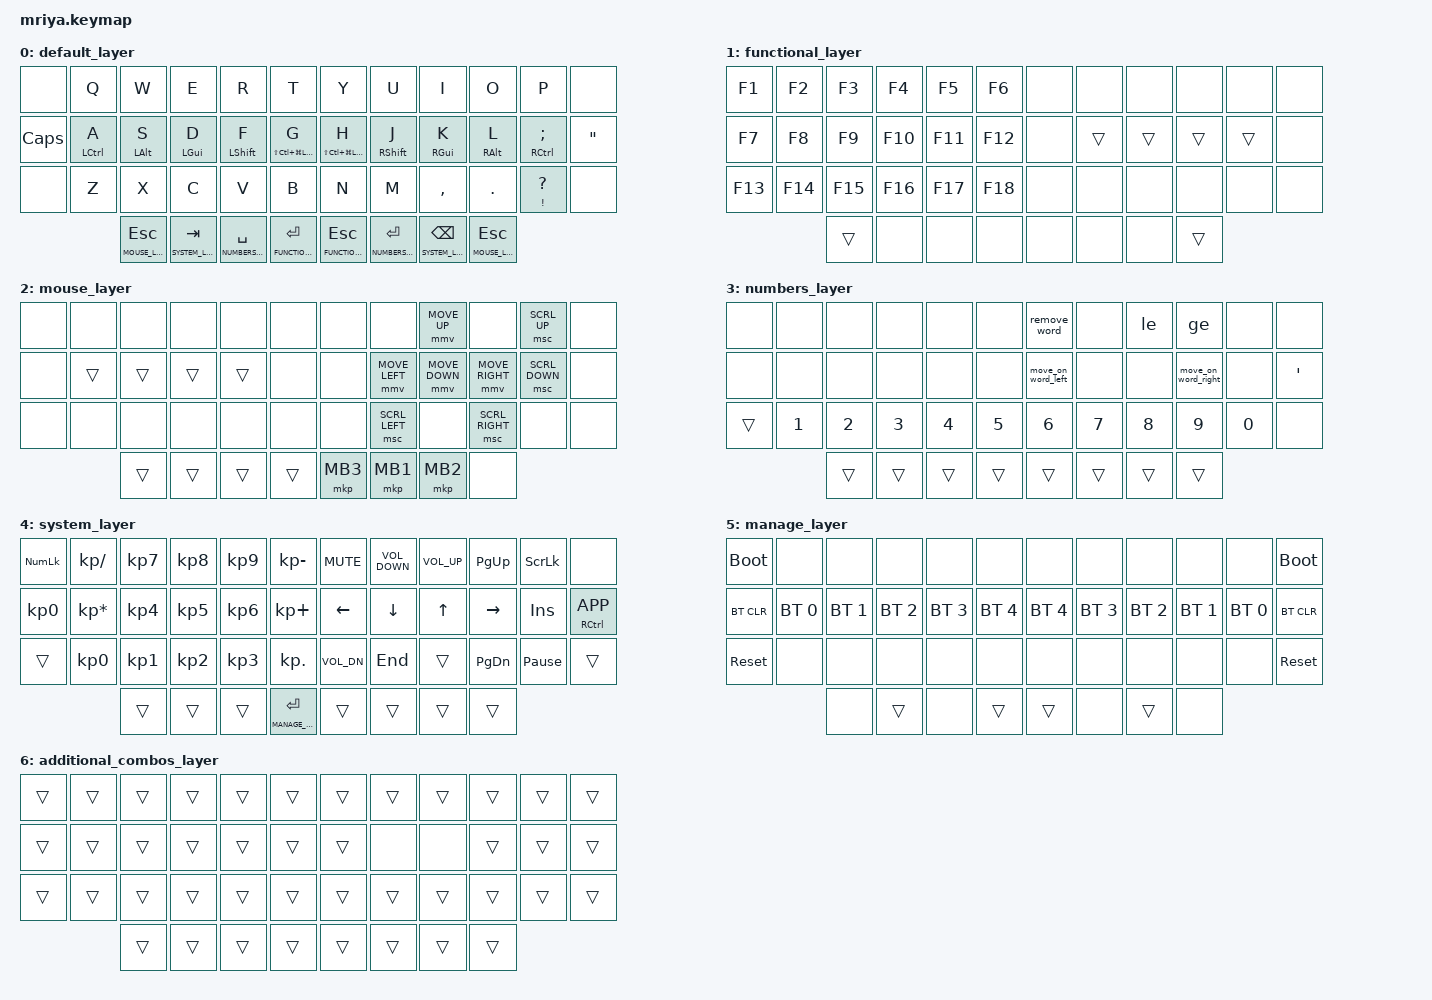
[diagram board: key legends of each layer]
/*
 * Copyright (c) 2023 Andrei Gaevskii
 *
 * SPDX-License-Identifier: MIT
 */

#include <behaviors/mouse_keys.dtsi>
#include <behaviors/mouse_move.dtsi>
#include <dt-bindings/zmk/mouse.h>
#include <behaviors.dtsi>
#include <dt-bindings/zmk/bt.h>
#include <dt-bindings/zmk/keys.h>

#define DEFAULT_LAYER    0
#define FUNCTIONAL_LAYER 1
#define MOUSE_LAYER      2
#define NUMBERS_LAYER    3
#define SYSTEM_LAYER     4
#define MANAGE_LAYER     5

#define ZMK_MOUSE_DEFAULT_SCRL_VAL 40
#define ZMK_MOUSE_DEFAULT_MOVE_VAL 1800

#define COMBO_TERM_LONG 51

// #define HYPER <&kp LEFT_GUI &kp LEFT_ALT &kp LEFT_CONTROL &kp LEFT_SHIFT>
#define HYPER LS(LC(LG(LEFT_ALT)))
#define MEH LEFT_ALT(LC(LS))
//#define MEH <&kp LEFT_ALT &kp LEFT_CONTROL &kp LEFT_SHIFT>


#define COMBO(NAME, BINDINGS, KEYPOS, LAYERS, MS) \
    combo_##NAME { \
        bindings = <BINDINGS>; \
        key-positions = KEYPOS; \
        layers = LAYERS; \
        timeout-ms = <MS>; \
    };

&lt { quick_tap_ms = <200>; };

&mt {
    quick-tap-ms = <125>;
    tapping-term-ms = <300>;
};

&mmv {
    time-to-max-speed-ms = <300>;
    acceleration-exponent = <2>;
};


/ {
    combos {
        compatible = "zmk,combos";

        COMBO(caps_word, &caps_word, <12 23>, <0>, COMBO_TERM_LONG)
        COMBO(plus_symbol, &kp KP_PLUS, <7 19>, <0>, COMBO_TERM_LONG)
        COMBO(minus_symbol, &kp KP_MINUS, <19 31>, <0>, COMBO_TERM_LONG)
        COMBO(equal_with_spaces, &equal_with_spaces, <16 19>, <0>, COMBO_TERM_LONG)
        COMBO(plus_with_spaces, &plus_with_spaces, <17 19>, <0>, COMBO_TERM_LONG)
        COMBO(return, &return, <20 38>, <0>, COMBO_TERM_LONG)
        COMBO(right_arrow_with_spaces, &right_arrow_with_spaces, <19 38>, <0>, COMBO_TERM_LONG)

        COMBO(minus_with_spaces, &minus_with_spaces, <15 19>, <0>, COMBO_TERM_LONG)

        COMBO(lpar, &kp LPAR, <7 8>, <0>, COMBO_TERM_LONG)
        COMBO(rpar, &kp RPAR, <8 9>, <0>, COMBO_TERM_LONG)

        /* COMBO(change_language, &kp CAPSLOCK, <38 41>, <0>, COMBO_TERM_LONG) */
        COMBO(bracket, &kp LEFT_BRACKET, <31 32>, <0>, COMBO_TERM_LONG)
        COMBO(right_bracket, &kp RIGHT_BRACKET, <32 33>, <0>, COMBO_TERM_LONG)
        COMBO(equal_sign, &kp KP_EQUAL, <15 16>, <0>, COMBO_TERM_LONG)
        COMBO(copy, &copy, <26 27>, <0>, COMBO_TERM_LONG)
        COMBO(paste, &paste, <27 28>, <0>, COMBO_TERM_LONG)
        COMBO(cut, &cut, <26 28>, <0>, COMBO_TERM_LONG)
        COMBO(caret, &kp CARET, <6 18>, <0>, COMBO_TERM_LONG)

        COMBO(and_, &kp AMPERSAND, <9 21>, <0>, COMBO_TERM_LONG)
        COMBO(or_, &kp PIPE, <21 33>, <0>, COMBO_TERM_LONG)

        COMBO(mult, &kp KP_MULTIPLY, <8 20>, <0>, COMBO_TERM_LONG)
        COMBO(div, &kp KP_DIVIDE, <20 32>, <0>, COMBO_TERM_LONG)

        COMBO(dollar, &kp DOLLAR, <4 16>, <0>, COMBO_TERM_LONG)
        COMBO(percent, &kp PERCENT, <5 17>, <0>, COMBO_TERM_LONG)
        COMBO(tilde, &kp TILDE, <17 29>, <0>, COMBO_TERM_LONG)
        COMBO(hash, &kp HASH, <3 15>, <0>, COMBO_TERM_LONG)
        COMBO(backslash, &kp BACKSLASH, <15 27>, <0>, COMBO_TERM_LONG)
        COMBO(at, &kp AT_SIGN, <2 14>, <0>, COMBO_TERM_LONG)
        COMBO(gravis, &kp GRAVE, <13 25>, <0>, COMBO_TERM_LONG)
        COMBO(ground, &kp UNDERSCORE, <18 30>, <0>, COMBO_TERM_LONG)
        COMBO(excl, &kp EXCL, <1 13>, <0>, COMBO_TERM_LONG)
    };

    macros {
        right_arrow: right_arrow {
            compatible = "zmk,behavior-macro";
            #binding-cells = <0>;
            bindings = <&kp MINUS &kp GT>;
            label = "RIGHT_ARROW";
        };

        move_on_word_left: move_on_word_left {
            compatible = "zmk,behavior-macro";
            #binding-cells = <0>;
            bindings =
                <&macro_press>,
                <&kp LEFT_ALT>,
                <&macro_tap>,
                <&kp LEFT>,
                <&macro_release>,
                <&kp LEFT_ALT>;
            label = "MOVE_ON_WORD_LEFT";
        };

        move_on_word_right: move_on_word_right {
            compatible = "zmk,behavior-macro";
            #binding-cells = <0>;
            bindings =
                <&macro_press>,
                <&kp LEFT_ALT>,
                <&macro_tap>,
                <&kp RIGHT>,
                <&macro_release>,
                <&kp LEFT_ALT>;
            label = "MOVE_ON_WORD_RIGHT";
        };

        remove_word: remove_word {
            compatible = "zmk,behavior-macro";
            #binding-cells = <0>;
            bindings =
                <&macro_press>,
                <&kp LEFT_ALT>,
                <&macro_tap>,
                <&kp BACKSPACE>,
                <&macro_release>,
                <&kp LEFT_ALT>;
            label = "REMOVE_WORD";
        };

        right_arrow_with_spaces: right_arrow_with_spaces {
            compatible = "zmk,behavior-macro";
            #binding-cells = <0>;
            bindings = <&kp SPACE &kp MINUS &kp GT &kp SPACE>;
            label = "RIGHT_ARROW_WITH_SPACES";
        };

        equal_with_spaces: equal_with_spaces {
            compatible = "zmk,behavior-macro";
            #binding-cells = <0>;
            bindings = <&kp SPACE &kp KP_EQUAL &kp SPACE>;
            label = "EQUAL_WITH_SPACES";
        };

        increment_with_spaces: increment_with_spaces {
            compatible = "zmk,behavior-macro";
            #binding-cells = <0>;
            bindings = <&kp SPACE &kp KP_PLUS &kp KP_EQUAL &kp SPACE>;
            label = "INCREMENT_WITH_SPACES";
        };

        plus_with_spaces: plus_with_spaces {
            compatible = "zmk,behavior-macro";
            #binding-cells = <0>;
            bindings = <&kp SPACE &kp KP_PLUS &kp SPACE>;
            label = "PLUS_WITH_SPACES";
        };

        minus_with_spaces: minus_with_spaces {
            compatible = "zmk,behavior-macro";
            #binding-cells = <0>;
            bindings = <&kp SPACE &kp KP_MINUS &kp SPACE>;
            label = "MINUS_WITH_SPACES";
        };

        copy: copy {
            compatible = "zmk,behavior-macro";
            #binding-cells = <0>;
            bindings =
                <&macro_press>,
                <&kp LCMD>,
                <&macro_tap>,
                <&kp C>,
                <&macro_release>,
                <&kp LCMD>;
            label = "COPY";
        };

        paste: paste {
            compatible = "zmk,behavior-macro";
            #binding-cells = <0>;
            bindings =
                <&macro_press>,
                <&kp LCMD>,
                <&macro_tap>,
                <&kp V>,
                <&macro_release>,
                <&kp LCMD>;
            label = "PASTE";
        };

        cut: cut {
            compatible = "zmk,behavior-macro";
            #binding-cells = <0>;
            bindings =
                <&macro_press>,
                <&kp LCMD>,
                <&macro_tap>,
                <&kp X>,
                <&macro_release>,
                <&kp LCMD>;
            label = "CUT";
        };

        return: return {
            compatible = "zmk,behavior-macro";
            #binding-cells = <0>;
            bindings = <&kp SPACE &kp EQUAL &kp GT &kp SPACE>;
            label = "RETURN";
        };

        not_by_excl: not_by_excl {
            compatible = "zmk,behavior-macro";
            #binding-cells = <0>;
            bindings = <&kp EXCL &kp EQUAL>;
            label = "NOT_BY_EXCL";
        };

        inc: inc {
            compatible = "zmk,behavior-macro";
            #binding-cells = <0>;
            bindings = <&kp PLUS &kp EQUAL>;
            label = "INC";
        };

        decr: decr {
            compatible = "zmk,behavior-macro";
            #binding-cells = <0>;
            bindings = <&kp MINUS &kp EQUAL>;
            label = "DECR";
        };

        ge: ge {
            compatible = "zmk,behavior-macro";
            #binding-cells = <0>;
            bindings = <&kp GT &kp EQUAL>;
            label = "GE";
        };

        le: le {
            compatible = "zmk,behavior-macro";
            #binding-cells = <0>;
            bindings = <&kp LT &kp EQUAL>;
            label = "LE";
        };

        walrus: walrus {
            compatible = "zmk,behavior-macro";
            #binding-cells = <0>;
            bindings = <&kp COLON &kp EQUAL>;
            label = "WALRUS";
        };

        or_pipes: or_pipes {
            compatible = "zmk,behavior-macro";
            #binding-cells = <0>;
            bindings = <&kp PIPE &kp PIPE>;
            label = "OR_PIPES";
        };

        rust_lambda: rust_lambda {
            compatible = "zmk,behavior-macro";
            #binding-cells = <0>;
            bindings = <&kp PIPE &kp PIPE &kp LEFT>;
            label = "RUST_LAMBDA";
        };

        and: and {
            compatible = "zmk,behavior-macro";
            #binding-cells = <0>;
            bindings = <&kp AMPS &kp AMPS>;
            label = "AND";
        };

        /* hyper: hyper { */
        /*     compatible = "zmk,behavior-macro"; */
        /*     #binding-cells = <0>; */
        /*     bindings = */
        /*         <&macro_press>, */
        /*         HYPER, */
        /*         <&macro_pause_for_release>, */
        /*         <&macro_release>, */
        /*         HYPER; */
        /**/
        /*     label = "HYPER_MACRO"; */
        /* }; */
        /**/
        /* meh: meh { */
        /*     compatible = "zmk,behavior-macro"; */
        /*     #binding-cells = <0>; */
        /*     bindings = */
        /*         <&macro_press>, */
        /*         MEH, */
        /*         <&macro_pause_for_release>, */
        /*         <&macro_release>, */
        /*         MEH; */
        /**/
        /*     label = "MEH_MACRO"; */
        /* }; */
    };

    behaviors {
        hmr: hmr {
            compatible = "zmk,behavior-hold-tap";
            label = "HMR";
            bindings = <&kp>, <&kp>;

            #binding-cells = <2>;
            tapping-term-ms = <280>;
            quick-tap-ms = <175>;
            require-prior-idle-ms = <150>;
            flavor = "balanced";
            hold-trigger-on-release;
        };
    };

    keymap {
        compatible = "zmk,keymap";

        default_layer {
            bindings = <
  &none    &kp Q                &kp W                &kp E            &kp R              &kp T            &kp Y         &kp U               &kp I             &kp O             &kp P                      &none
  &kp CAPSLOCK    &hmr LEFT_CONTROL A  &hmr LEFT_ALT S      &hmr LEFT_GUI D  &hmr LEFT_SHIFT F  &hmr HYPER G            &hmr HYPER H  &hmr RIGHT_SHIFT J  &hmr RIGHT_GUI K  &hmr RIGHT_ALT L  &hmr RIGHT_CONTROL SEMI  &kp DOUBLE_QUOTES
  &none    &kp Z                &kp X                &kp C            &kp V              &kp B            &kp N         &kp M               &kp COMMA         &kp DOT           &hmr EXCL QUESTION       &none

                               &lt MOUSE_LAYER ESCAPE     &lt SYSTEM_LAYER TAB    &lt NUMBERS_LAYER SPACE    &lt FUNCTIONAL_LAYER RET        &lt FUNCTIONAL_LAYER ESCAPE  &lt NUMBERS_LAYER RETURN     &lt SYSTEM_LAYER BACKSPACE   &lt MOUSE_LAYER ESCAPE
            >;
        };

        functional_layer {
            bindings = <
  &kp F1   &kp F2   &kp F3    &kp F4   &kp F5    &kp F6     &none  &none   &none   &none   &none   &none
  &kp F7   &kp F8   &kp F9    &kp F10  &kp F11   &kp F12    &none  &trans  &trans  &trans  &trans  &none
  &kp F13  &kp F14  &kp F15   &kp F16  &kp F17   &kp F18    &none  &none   &none   &none   &none   &none
                    &trans  &none  &none  &none             &none  &none   &none   &trans
            >;
        };

        mouse_layer {
            bindings = <
  &none  &none  &none   &none  &none   &none        &none           &none           &mmv MOVE_UP        &none                &msc SCRL_UP            &none
  &none  &trans &trans  &trans &trans  &none        &none           &mmv MOVE_LEFT  &mmv MOVE_DOWN      &mmv MOVE_RIGHT      &msc SCRL_DOWN          &none
  &none  &none  &none   &none  &none   &none        &none           &msc SCRL_LEFT  &none               &msc SCRL_RIGHT      &none                   &none
              &trans  &trans  &trans  &trans        &mkp MB3        &mkp MB1        &mkp MB2            &none
            >;
        };

        numbers_layer {
            bindings = <
  &none      &none   &none      &none       &none        &none          &remove_word           &none   &le                    &ge                   &none    &none
  &none      &none   &none      &none       &none        &none          &move_on_word_left     &none   &none                  &move_on_word_right   &none    &kp APOSTROPHE
  &trans     &kp N1  &kp N2     &kp N3      &kp N4       &kp N5         &kp N6                 &kp N7  &kp N8                 &kp N9                &kp N0   &none

                     &trans     &trans   &trans       &trans         &trans    &trans  &trans  &trans
            >;
        };

        system_layer {
            bindings = <
  &kp KP_NUM  &kp KP_SLASH     &kp KP_N7  &kp KP_N8  &kp KP_N9  &kp KP_MINUS    &kp K_MUTE    &kp C_VOLUME_DOWN  &kp C_VOLUME_UP  &kp PG_UP  &kp SLCK         &none
  &kp KP_N0   &kp KP_MULTIPLY  &kp KP_N4  &kp KP_N5  &kp KP_N6  &kp KP_PLUS     &kp LEFT      &kp DOWN           &kp UP           &kp RIGHT  &kp INS          &mt RCTRL K_APP
  &trans      &kp KP_N0        &kp KP_N1  &kp KP_N2  &kp KP_N3  &kp KP_DOT      &kp C_VOL_DN  &kp END            &trans           &kp PG_DN  &kp PAUSE_BREAK  &trans
                               &trans     &trans     &trans     &lt MANAGE_LAYER RET       &trans     &trans             &trans           &trans
            >;
        };

        manage_layer {
            bindings = <
  &bootloader  &none         &none         &none         &none         &none           &none         &none         &none         &none         &none         &bootloader
  &bt BT_CLR   &bt BT_SEL 0  &bt BT_SEL 1  &bt BT_SEL 2  &bt BT_SEL 3  &bt BT_SEL 4    &bt BT_SEL 4  &bt BT_SEL 3  &bt BT_SEL 2  &bt BT_SEL 1  &bt BT_SEL 0  &bt BT_CLR
  &sys_reset   &none         &none         &none         &none         &none           &none         &none         &none         &none         &none         &sys_reset
                             &none         &trans        &none         &trans          &trans        &none         &trans        &none
            >;
        };

        additional_combos_layer {
            bindings = <
  &trans  &trans  &trans  &trans  &trans  &trans        &trans  &trans  &trans  &trans  &trans  &trans
  &trans  &trans  &trans  &trans  &trans  &trans        &trans  &none   &none   &trans  &trans  &trans
  &trans  &trans  &trans  &trans  &trans  &trans        &trans  &trans  &trans  &trans  &trans  &trans

                  &trans  &trans  &trans  &trans        &trans  &trans  &trans  &trans
            >;
        };
    };
};
